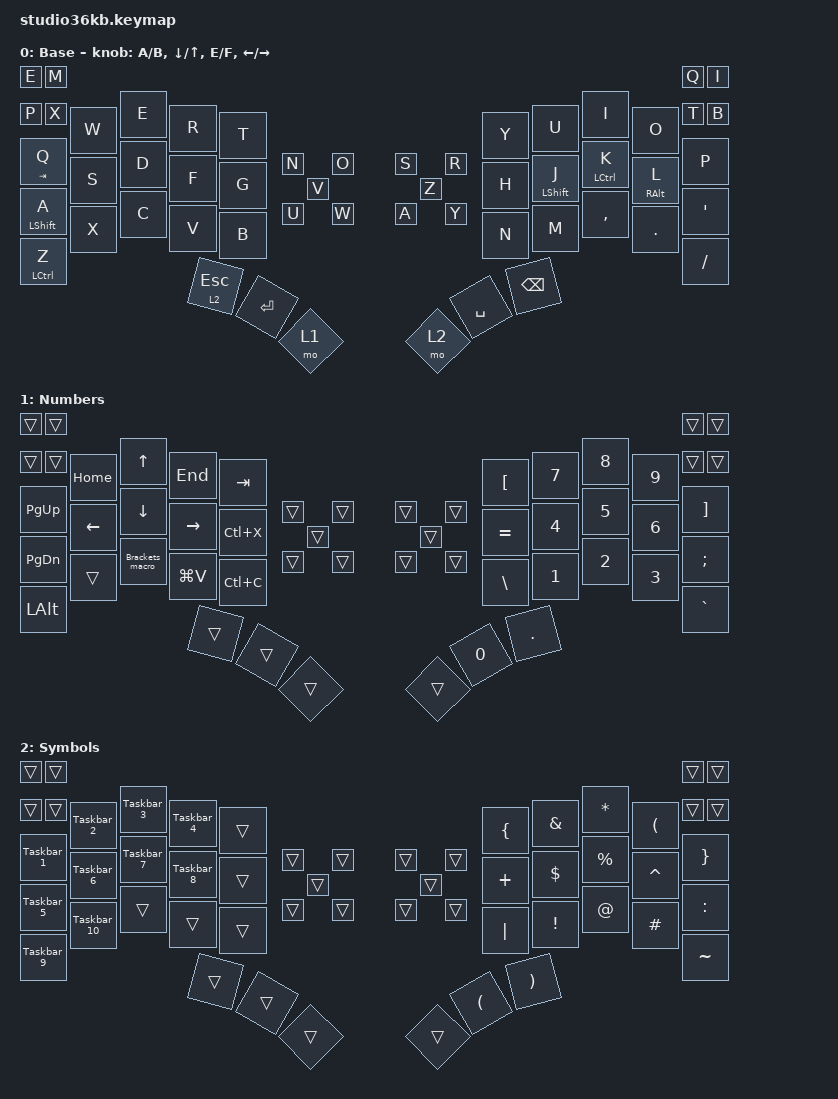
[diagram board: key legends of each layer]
#define ZMK_POINTING_DEFAULT_MOVE_VAL 2000  // default: 600
#define ZMK_POINTING_DEFAULT_SCRL_VAL 20    // default: 10

#include <behaviors.dtsi>

#include <dt-bindings/zmk/keys.h>
#include <dt-bindings/zmk/bt.h>
#include <dt-bindings/zmk/rgb.h>
#include <dt-bindings/zmk/ext_power.h>
#include <dt-bindings/zmk/outputs.h>
#include <dt-bindings/led/led.h>

&mt {
    tapping-term-ms = <250>;
    flavor = "tap-preferred";
};

// pin control for spi3
// - MOSI on D19
&pinctrl {
    /* configuration for spi3 device, default state */
    spi3_default: spi3_default {
        group1 {
            psels = <NRF_PSEL(SPIM_MOSI, 1, 7)>;
        };
    };
    /* configuration for spi3 device, sleep state */
    spi3_sleep: spi3_sleep {
        group1 {
            psels = <NRF_PSEL(SPIM_MOSI, 1, 7)>;
            low-power-enable;
        };
    };
};
&spi3 {
  compatible = "nordic,nrf-spim";
  status = "okay";
  pinctrl-0 = <&spi3_default>;
  pinctrl-1 = <&spi3_sleep>;
  pinctrl-names = "default", "sleep";
};

// devices on spi3

#include <dt-bindings/led/led.h>
&spi3 {
    led_strip: ws2812@0 {
        compatible = "worldsemi,ws2812-spi";
        reg = <0>;
        spi-max-frequency = <4000000>;

        chain-length = <18>;
        spi-one-frame = <0x70>;
        spi-zero-frame = <0x40>;
        color-mapping = <LED_COLOR_ID_GREEN
                         LED_COLOR_ID_RED
                         LED_COLOR_ID_BLUE>;
    };
};
/ {
    chosen {
        zmk,underglow = &led_strip;
    };
};
/ {
    combos {
        compatible = "zmk,combos";

        Delete {
            bindings = <&lt 7 DELETE>;
            key-positions = <3 4>;
            layers = <0>;
        };

        AllTabs {
            bindings = <&WinTab>;
            key-positions = <11 12 13>;
        };

        SwitchWindows {
            bindings = <&kp LA(TAB)>;
            key-positions = <24 23>;
        };

        SwitchInternal {
            bindings = <&kp LC(LA(TAB))>;
            key-positions = <24 22>;
        };

        Undo {
            bindings = <&kp LC(Z)>;
            key-positions = <20 21>;
        };

        Save {
            bindings = <&kp LC(S)>;
            key-positions = <0 1>;
        };

        FileExplorer {
            bindings = <&kp LG(E)>;
            key-positions = <2 14>;
        };

        capsLock {
            bindings = <&kp CAPSLOCK>;
            key-positions = <1 2>;
        };

        Search {
            bindings = <&kp LC(E)>;
            key-positions = <3 2>;
        };

        Redo {
            bindings = <&kp LC(Y)>;
            key-positions = <10 11>;
        };

        Delete2 {
            bindings = <&kp DELETE>;
            key-positions = <5 15>;
        };

        Windows {
            bindings = <&kp LEFT_WIN>;
            key-positions = <25 15>;
        };
    };

    macros {
        Bluetooth_1: Bluetooth_1 {
            compatible = "zmk,behavior-macro";
            #binding-cells = <0>;
            bindings = <&bt BT_SEL 0>;
            label = "Bluetooth_1";
        };

        Taskbar_2: Taskbar_2 {
            compatible = "zmk,behavior-macro";
            #binding-cells = <0>;
            bindings =
                <&macro_press>,
                <&kp LEFT_WIN>,
                <&macro_tap>,
                <&kp NUMBER_2>,
                <&macro_release>,
                <&kp LEFT_WIN>;

            label = "TASKBAR_2";
            wait-ms = <50>;
            tap-ms = <50>;
        };

        Taskbar_3: Taskbar_3 {
            compatible = "zmk,behavior-macro";
            #binding-cells = <0>;
            bindings =
                <&macro_press>,
                <&kp LEFT_WIN>,
                <&macro_tap>,
                <&kp NUMBER_3>,
                <&macro_release>,
                <&kp LEFT_WIN>;

            label = "TASKBAR_3";
            wait-ms = <50>;
            tap-ms = <50>;
        };

        Taskbar_4: Taskbar_4 {
            compatible = "zmk,behavior-macro";
            #binding-cells = <0>;
            bindings =
                <&macro_press>,
                <&kp LEFT_WIN>,
                <&macro_tap>,
                <&kp NUMBER_4>,
                <&macro_release>,
                <&kp LEFT_WIN>;

            label = "TASKBAR_4";
            wait-ms = <50>;
            tap-ms = <50>;
        };

        Taskbar_5: Taskbar_5 {
            compatible = "zmk,behavior-macro";
            #binding-cells = <0>;
            bindings =
                <&macro_press>,
                <&kp LEFT_WIN>,
                <&macro_tap>,
                <&kp N5>,
                <&macro_release>,
                <&kp LEFT_WIN>;

            label = "TASKBAR_5";
            wait-ms = <50>;
            tap-ms = <50>;
        };

        CtrlAltDel: CtrlAltDel {
            compatible = "zmk,behavior-macro";
            #binding-cells = <0>;
            bindings =
                <&macro_press>,
                <&kp LEFT_CONTROL>,
                <&macro_press>,
                <&kp LEFT_ALT>,
                <&macro_press>,
                <&kp DELETE>,
                <&macro_release>,
                <&kp LEFT_CONTROL>,
                <&macro_release>,
                <&kp LEFT_ALT>,
                <&macro_release>,
                <&kp DELETE>;

            label = "CTRLALTDEL";
        };

        Taskbar_6: Taskbar_6 {
            compatible = "zmk,behavior-macro";
            #binding-cells = <0>;
            bindings =
                <&macro_press>,
                <&kp LEFT_WIN>,
                <&macro_tap>,
                <&kp NUMBER_6>,
                <&macro_release>,
                <&kp LEFT_WIN>;

            label = "TASKBAR_6";
            wait-ms = <50>;
            tap-ms = <50>;
        };

        Taskbar_7: Taskbar_7 {
            compatible = "zmk,behavior-macro";
            #binding-cells = <0>;
            bindings =
                <&macro_press>,
                <&kp LEFT_WIN>,
                <&macro_tap>,
                <&kp N7>,
                <&macro_release>,
                <&kp LEFT_WIN>;

            label = "TASKBAR_7";
            wait-ms = <50>;
            tap-ms = <50>;
        };

        Taskbar_8: Taskbar_8 {
            compatible = "zmk,behavior-macro";
            #binding-cells = <0>;
            bindings =
                <&macro_press>,
                <&kp LEFT_WIN>,
                <&macro_tap>,
                <&kp N8>,
                <&macro_release>,
                <&kp LEFT_WIN>;

            label = "TASKBAR_8";
            wait-ms = <50>;
            tap-ms = <50>;
        };

        Taskbar_9: Taskbar_9 {
            compatible = "zmk,behavior-macro";
            #binding-cells = <0>;
            bindings =
                <&macro_press>,
                <&kp LEFT_WIN>,
                <&macro_tap>,
                <&kp NUMBER_9>,
                <&macro_release>,
                <&kp LEFT_WIN>;

            label = "TASKBAR_9";
            wait-ms = <50>;
            tap-ms = <50>;
        };

        Taskbar_10: Taskbar_10 {
            compatible = "zmk,behavior-macro";
            #binding-cells = <0>;
            bindings =
                <&macro_press>,
                <&kp LEFT_WIN>,
                <&macro_tap>,
                <&kp NUMBER_0>,
                <&macro_release>,
                <&kp LEFT_WIN>;

            label = "TASKBAR_10";
            wait-ms = <50>;
            tap-ms = <50>;
        };

        Taskbar_1: Taskbar_1 {
            compatible = "zmk,behavior-macro";
            #binding-cells = <0>;
            bindings =
                <&macro_press>,
                <&kp LEFT_WIN>,
                <&macro_tap>,
                <&kp NUMBER_1>,
                <&macro_release>,
                <&kp LEFT_WIN>;

            label = "TASKBAR_1";
            wait-ms = <50>;
            tap-ms = <50>;
        };

        Bluetooth_2: Bluetooth_2 {
            compatible = "zmk,behavior-macro";
            #binding-cells = <0>;
            bindings = <&bt BT_SEL 1>;
            label = "BLUETOOTH_2";
        };

        Bluetooth_3: Bluetooth_3 {
            compatible = "zmk,behavior-macro";
            #binding-cells = <0>;
            bindings = <&bt BT_SEL 2>;
            label = "BLUETOOTH_3";
        };

        NewWindow_macro: NewWindow_macro {
            compatible = "zmk,behavior-macro";
            #binding-cells = <0>;
            bindings =
                <&macro_press>,
                <&kp LEFT_WIN>,
                <&macro_tap>,
                <&kp E>,
                <&macro_release>,
                <&kp LEFT_WIN>;

            label = "NEWWINDOW_MACRO";
            wait-ms = <50>;
            tap-ms = <50>;
        };

        Switch_macro: Switch_macro {
            compatible = "zmk,behavior-macro";
            #binding-cells = <0>;
            bindings =
                <&macro_press>,
                <&kt LEFT_WIN>,
                <&macro_tap>,
                <&kp TAB>,
                <&macro_release>,
                <&kp LEFT_WIN>;

            label = "SWITCH_MACRO";
            wait-ms = <25>;
            tap-ms = <25>;
        };

        paint_macro: paint_macro {
            compatible = "zmk,behavior-macro";
            #binding-cells = <0>;
            bindings =
                <&macro_press>,
                <&kp LEFT_WIN>,
                <&macro_tap>,
                <&kp NUMBER_1>,
                <&macro_release>,
                <&kp LEFT_WIN>;

            label = "PAINT_MACRO";
            wait-ms = <50>;
            tap-ms = <50>;
        };

        Brackets_macro: Brackets_macro {
            compatible = "zmk,behavior-macro";
            #binding-cells = <0>;
            bindings = <&kp LEFT_PARENTHESIS &kp RIGHT_PARENTHESIS &kp LEFT>;
            label = "BRACKETS_MACRO";
            wait-ms = <50>;
            tap-ms = <50>;
        };

        CB_History_macro: CB_History_macro {
            compatible = "zmk,behavior-macro";
            #binding-cells = <0>;
            bindings =
                <&macro_press>,
                <&kp LEFT_WIN>,
                <&macro_tap>,
                <&kp V>,
                <&macro_release>,
                <&kp LEFT_WIN>;

            label = "CB_History_macro";
            wait-ms = <1>;
            tap-ms = <1>;
        };

        MoveRight_macro: MoveRight_macro {
            compatible = "zmk,behavior-macro";
            #binding-cells = <0>;
            bindings =
                <&macro_press>,
                <&kp LEFT_WIN &kp LEFT_SHIFT>,
                <&macro_tap>,
                <&kp RIGHT>,
                <&macro_release>,
                <&kp LEFT_WIN &kp LEFT_SHIFT>;

            label = "MOVERIGHT_MACRO";
            wait-ms = <1>;
            tap-ms = <1>;
        };

        SelectLine_macro: SelectLine_macro {
            compatible = "zmk,behavior-macro";
            #binding-cells = <0>;
            bindings = <&kp HOME &kp LS(END)>;
            label = "SELECTLINE_MACRO";
        };

        MoveLeft_macro: MoveLeft_macro {
            compatible = "zmk,behavior-macro";
            #binding-cells = <0>;
            bindings =
                <&macro_press>,
                <&kp LEFT_WIN &kp LEFT_SHIFT>,
                <&macro_tap>,
                <&kp LEFT>,
                <&macro_release>,
                <&kp LEFT_WIN &kp LEFT_SHIFT>;

            label = "MOVELEFT_MACRO";
            wait-ms = <1>;
            tap-ms = <1>;
        };

        TextExtractor_macro: TextExtractor_macro {
            compatible = "zmk,behavior-macro";
            #binding-cells = <0>;
            bindings =
                <&macro_press>,
                <&kp LEFT_WIN &kp LEFT_SHIFT>,
                <&macro_tap>,
                <&kp T>,
                <&macro_release>,
                <&kp LEFT_WIN &kp LEFT_SHIFT>;

            label = "TEXTEXTRACTOR_MACRO";
            wait-ms = <1>;
            tap-ms = <1>;
        };

        ACADE_SaveZoomClose: SaveZoomClose {
            compatible = "zmk,behavior-macro";
            #binding-cells = <0>;
            bindings = <&kp S &kp V &kp RET>;
            label = "SAVEZOOMCLOSE";
        };

        ACADE_CloseNoSave: ACADE_close {
            compatible = "zmk,behavior-macro";
            #binding-cells = <0>;
            bindings = <&kp C &kp C &kp RET>;
            label = "ACADE_CLOSE";
        };

        ACADE_edit: ACADE_edit {
            compatible = "zmk,behavior-macro";
            #binding-cells = <0>;
            bindings = <&kp E &kp D &kp I &kp T &kp RET>;
            label = "ACADE_EDIT";
        };

        ACADE_Align: ACADE_Align {
            compatible = "zmk,behavior-macro";
            #binding-cells = <0>;
            bindings = <&kp A &kp E &kp A &kp RET>;
            label = "ACADE_ALIGN";
        };

        ACADE_SaveNext: ACADE_SaveNext {
            compatible = "zmk,behavior-macro";
            #binding-cells = <0>;
            bindings = <&kp N &kp N &kp RET>;
            label = "ACADE_SAVENEXT";
        };

        ACADE_SavePrevious: ACADE_SavePrevious {
            compatible = "zmk,behavior-macro";
            #binding-cells = <0>;
            bindings = <&kp B &kp B &kp RET>;
            label = "ACADE_SAVEPREVIOUS";
        };

        ACADE_Wire: ACADE_Wire {
            compatible = "zmk,behavior-macro";
            #binding-cells = <0>;
            bindings = <&kp A &kp E &kp W &kp RET>;
            label = "ACADE_WIRE";
        };

        ACADE_FlipWireNo: ACADE_FlipWireNo {
            compatible = "zmk,behavior-macro";
            #binding-cells = <0>;
            bindings = <&kp A &kp E &kp F &kp L &kp W &kp RET>;
            label = "ACADE_FLIPWIRENO";
        };

        ACADE_Justify: ACADE_Justify {
            compatible = "zmk,behavior-macro";
            #binding-cells = <0>;
            bindings = <&kp A &kp E &kp J &kp RET>;
            label = "ACADE_JUSTIFY";
        };

        ACADE_Surf: ACADE_Surf {
            compatible = "zmk,behavior-macro";
            #binding-cells = <0>;
            bindings = <&kp A &kp E &kp S &kp RET>;
            label = "ACADE_SURF";
        };

        ACADE_TabEnter: ACADE_TabEnter {
            compatible = "zmk,behavior-macro";
            #binding-cells = <0>;
            bindings =
                <&macro_tap>,
                <&kp TAB>,
                <&macro_wait_time 50>,
                <&kp ENTER>;

            label = "ACADE_TABENTER";
        };

        ACADE_PAN: ACADE_PANS {
            compatible = "zmk,behavior-macro";
            #binding-cells = <0>;
            bindings =
                <&macro_tap>,
                <&kp P>,
                <&macro_wait_time 50>,
                <&kp ENTER>;

            label = "ACADE_PANS";
        };

        WinTab: WinTab {
            compatible = "zmk,behavior-macro";
            #binding-cells = <0>;
            bindings =
                <&macro_press>,
                <&kp LEFT_WIN>,
                <&macro_tap>,
                <&kp TAB>,
                <&macro_release>,
                <&kp LEFT_WIN>;

            label = "WINTAB";
            wait-ms = <50>;
            tap-ms = <50>;
        };
    };

    keymap {
        compatible = "zmk,keymap";

        Base {
            display-name = "Base";
            bindings = <
          &mt TAB Q         &kp W  &kp E         &kp R      &kp T  &kp P      &kp O            &kp I               &kp U             &kp Y
          &mt LEFT_SHIFT A  &kp S  &kp D         &kp F      &kp G  &kp SQT    &mt RIGHT_ALT L  &mt LEFT_CONTROL K  &mt LEFT_SHIFT J  &kp H
          &mt LCTRL Z       &kp X  &kp C         &kp V      &kp B  &kp SLASH  &kp PERIOD       &kp COMMA           &kp M             &kp N
                            &kp E  &lt 2 ESCAPE  &kp ENTER  &mo 1             &kp I            &kp BACKSPACE       &kp SPACE         &mo 2
                            &kp M  &kp N         &kp O      &kp P             &kp Q            &kp R               &kp S             &kp T
                            &kp U  &kp V         &kp W      &kp X             &kp Y            &kp Z               &kp A             &kp B
            >;

            sensor-bindings = <&inc_dec_kp A B &inc_dec_kp DOWN UP &inc_dec_kp E F &inc_dec_kp LEFT RIGHT>;
        };

        Numbers {
            bindings = <
          &kp PG_UP  &kp HOME  &kp UP           &kp END    &kp TAB    &kp RBKT   &kp N9  &kp N8      &kp N7        &kp LBKT
          &kp PG_DN  &kp LEFT  &kp DOWN         &kp RIGHT  &kp LC(X)  &kp SEMI   &kp N6  &kp N5      &kp N4        &kp EQUAL
          &kp LALT   &trans    &Brackets_macro  &kp LG(V)  &kp LC(C)  &kp GRAVE  &kp N3  &kp N2      &kp N1        &kp BSLH
                     &trans    &trans           &trans     &trans                &trans  &kp PERIOD  &kp NUMBER_0  &trans
                     &trans    &trans           &trans     &trans                &trans  &trans      &trans        &trans
                     &trans    &trans           &trans     &trans                &trans  &trans      &trans        &trans
            >;

            label = "Numbers";
        };

        Symbols {
            bindings = <
          &Taskbar_1  &Taskbar_2   &Taskbar_3  &Taskbar_4  &trans  &kp RIGHT_BRACE  &kp LEFT_PARENTHESIS  &kp ASTERISK           &kp AMPERSAND         &kp LEFT_BRACE
          &Taskbar_5  &Taskbar_6   &Taskbar_7  &Taskbar_8  &trans  &kp COLON        &kp CARET             &kp PERCENT            &kp DOLLAR            &kp PLUS
          &Taskbar_9  &Taskbar_10  &trans      &trans      &trans  &kp TILDE        &kp HASH              &kp AT_SIGN            &kp EXCLAMATION       &kp PIPE
                      &trans       &trans      &trans      &trans                   &trans                &kp RIGHT_PARENTHESIS  &kp LEFT_PARENTHESIS  &trans
                      &trans       &trans      &trans      &trans                   &trans                &trans                 &trans                &trans
                      &trans       &trans      &trans      &trans                   &trans                &trans                 &trans                &trans
            >;

            label = "Symbols";
        };
    };
};
